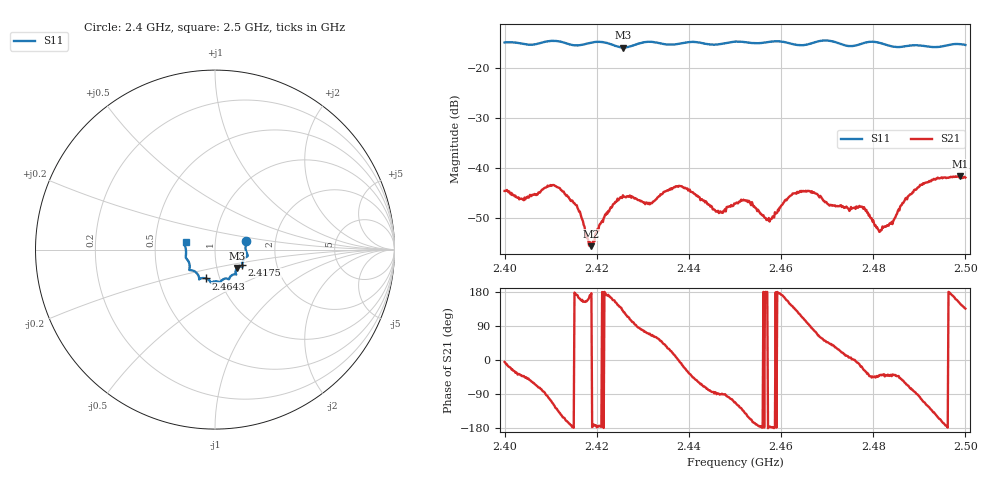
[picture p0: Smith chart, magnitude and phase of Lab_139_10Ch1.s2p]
# Hz S RI R 50
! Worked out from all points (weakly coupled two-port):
!   601 points, 2.4 GHz to 2.5 GHz, reference 50 ohm
!   highest |S21| = -41.71 dB at 2.4988 GHz (marker M1); lowest = -55.7 dB at 2.4188 GHz (marker M2)
!   lowest |S11| = -15.9 dB at 2.4257 GHz (marker M3), VSWR 1.38, Z = 62.5 - j13.1 ohm
!   |S11| at or under -10 dB: start of sweep to end of sweep
!   S12 and S22 are empty: the file has one direction only
!   S11 on the Smith chart (normalised r, x): 2.4 GHz: 1.41, +0.14; 2.4175 GHz: 1.34, -0.23; 2.4643 GHz: 0.86, -0.29; 2.5 GHz: 0.72, +0.06
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2.4e9  0.1727 0.0489  0.00581 -0.000527  0 0  0 0
2.403667e9  0.1728 0.0284  0.00373 -0.00318  0 0  0 0
2.410833e9  0.1833 -0.035  -0.0034 -0.00569  0 0  0 0
2.416667e9  0.1526 -0.0739  -0.00292 0.00123  0 0  0 0
2.4175e9  0.1519 -0.0831  -0.00204 0.00103  0 0  0 0
2.418833e9  0.1529 -0.0938  -0.00163 0.000107  0 0  0 0
2.422e9  0.1513 -0.0951  -0.00334 0.000393  0 0  0 0
2.425667e9  0.123 -0.1021  -0.00339 0.00405  0 0  0 0
2.433333e9  0.1132 -0.1372  0.00283 0.00421  0 0  0 0
2.438e9  0.0826 -0.1541  0.00652 -0.000574  0 0  0 0
2.446167e9  0.0467 -0.1652  0.000131 -0.00367  0 0  0 0
2.45e9  0.0289 -0.1809  -0.00158 -0.00406  0 0  0 0
2.452667e9  0.0191 -0.1786  -0.00396 -0.0025  0 0  0 0
2.457333e9  -0.0154 -0.1812  -0.00313 -0.000105  0 0  0 0
2.464333e9  -0.0498 -0.1609  -0.00248 0.00514  0 0  0 0
2.466667e9  -0.0757 -0.1594  0.000567 0.00578  0 0  0 0
2.477667e9  -0.1325 -0.1156  0.00376 -0.00145  0 0  0 0
2.481333e9  -0.1427 -0.1072  0.00175 -0.00145  0 0  0 0
2.483333e9  -0.141 -0.0902  0.00197 -0.00172  0 0  0 0
2.490333e9  -0.163 -0.0387  -0.00142 -0.00653  0 0  0 0
2.498833e9  -0.1692 0.0364  -0.00705 0.00421  0 0  0 0
2.5e9  -0.164 0.0432  -0.00569 0.00556  0 0  0 0
